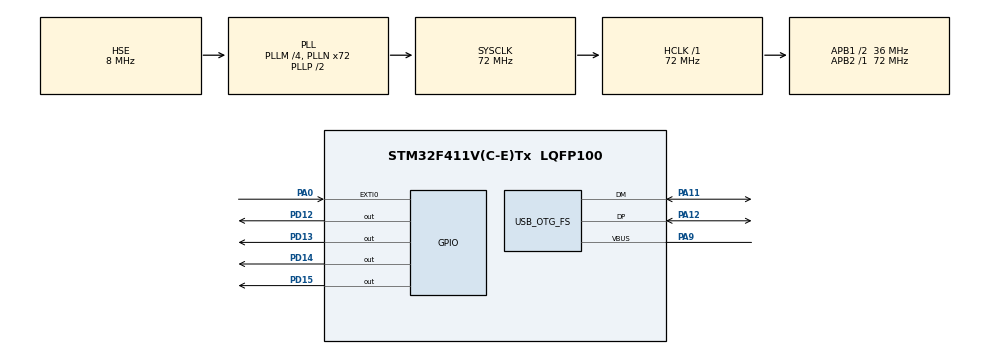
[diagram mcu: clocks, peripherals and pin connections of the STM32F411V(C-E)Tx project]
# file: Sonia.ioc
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ADC1.Channel-11\#ChannelRegularConversion=ADC_CHANNEL_TEMPSENSOR
ADC1.ClockPrescaler=ADC_CLOCK_SYNC_PCLK_DIV8
ADC1.ContinuousConvMode=ENABLE
ADC1.NbrOfConversionFlag=1
ADC1.Rank-11\#ChannelRegularConversion=1
ADC1.SamplingTime-11\#ChannelRegularConversion=ADC_SAMPLETIME_480CYCLES
ADC1.master=1
Mcu.Family=STM32F4
Mcu.Name=STM32F411V(C-E)Tx
Mcu.Package=LQFP100
NVIC.ADC_IRQn=true\:0\:0\:false\:false\:true\:true\:true\:true
NVIC.EXTI0_IRQn=true\:0\:0\:false\:false\:true\:true\:true\:true
NVIC.OTG_FS_IRQn=true\:0\:0\:false\:false\:true\:false\:true\:true
NVIC.PriorityGroup=NVIC_PRIORITYGROUP_4
PA0-WKUP.GPIO_ModeDefaultEXTI=GPIO_MODE_IT_RISING_FALLING
PA0-WKUP.Signal=GPXTI0
PA11.Mode=Device_Only
PA11.Signal=USB_OTG_FS_DM
PA12.Mode=Device_Only
PA12.Signal=USB_OTG_FS_DP
PA13.Mode=Serial_Wire
PA13.Signal=SYS_JTMS-SWDIO
PA14.Mode=Serial_Wire
PA14.Signal=SYS_JTCK-SWCLK
PA9.Mode=Activate_VBUS
PA9.Signal=USB_OTG_FS_VBUS
PD12.PinState=GPIO_PIN_SET
PD12.Signal=GPIO_Output
PD13.PinState=GPIO_PIN_SET
PD13.Signal=GPIO_Output
PD14.PinState=GPIO_PIN_SET
PD14.Signal=GPIO_Output
PD15.PinState=GPIO_PIN_SET
PD15.Signal=GPIO_Output
PH0\ -\ OSC_IN.Mode=HSE-External-Oscillator
PH0\ -\ OSC_IN.Signal=RCC_OSC_IN
PH1\ -\ OSC_OUT.Mode=HSE-External-Oscillator
PH1\ -\ OSC_OUT.Signal=RCC_OSC_OUT
ProjectManager.HeapSize=0x200
ProjectManager.StackSize=0x400
ProjectManager.TargetToolchain=STM32CubeIDE
RCC.48MHZClocksFreq_Value=48000000
RCC.AHBFreq_Value=72000000
RCC.APB1CLKDivider=RCC_HCLK_DIV2
RCC.APB1Freq_Value=36000000
RCC.APB1TimFreq_Value=72000000
RCC.APB2Freq_Value=72000000
RCC.APB2TimFreq_Value=72000000
RCC.CortexFreq_Value=72000000
RCC.HCLKFreq_Value=72000000
RCC.HSE_VALUE=8000000
RCC.HSI_VALUE=16000000
RCC.LSE_VALUE=32768
RCC.PLLM=4
RCC.PLLN=72
RCC.PLLQ=3
RCC.SYSCLKFreq_VALUE=72000000
RCC.SYSCLKSource=RCC_SYSCLKSOURCE_PLLCLK
RCC.VCOOutputFreq_Value=144000000
USB_DEVICE.CLASS_NAME_FS=CDC
USB_DEVICE.VirtualMode=Cdc
USB_DEVICE.VirtualModeFS=Cdc_FS
USB_OTG_FS.VirtualMode=Device_Only
VP_ADC1_TempSens_Input.Mode=IN-TempSens
VP_USB_DEVICE_VS_USB_DEVICE_CDC_FS.Mode=CDC_FS
board=custom

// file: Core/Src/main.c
/* USER CODE BEGIN Header */
/**
  ******************************************************************************
  * @file           : main.c
  * @brief          : Main program body
  ******************************************************************************
  * @attention
  *
  * Copyright (c) 2023 STMicroelectronics.
  * All rights reserved.
  *
  * This software is licensed under terms that can be found in the LICENSE file
  * in the root directory of this software component.
  * If no LICENSE file comes with this software, it is provided AS-IS.
  *
  ******************* ***********************************************************
  */
/* USER CODE END Header */
#include "main.h"
#include "usb_device.h"

/* USER CODE BEGIN Includes */

#include <stdio.h>
#include "string.h"
#include "stdint.h" //Required by nanopb - protocol buffer implementation and For use in converting RecievedDataForPB2 buffer from hex into decimal
#include "stddef.h" //Required by nanopb - protocol buffer implementation
#include "stdbool.h" //Required by nanopb - protocol buffer implementation
#include "limits.h" //Required by nanopb - protocol buffer implementation
#include <stdlib.h>

#include "src/STM.pb.h"
#include "pb_common.h"
#include "pb.h"
#include "pb_encode.h"
#include "pb_decode.h"

#include "usbd_cdc_if.h" // USB user interface  - For communication USB 11
#include "math.h"
/* USER CODE END Includes */

ADC_HandleTypeDef hadc1;

/* USER CODE BEGIN PV */

int DebugIncriment = 0;

//Private variables used for USB Communication
uint8_t DataToSend[64]; // Table with data for sending
uint8_t MessageCounter = 0; // Counter of number of sent messages
uint8_t MessageLength = 0; // The length of messages for sending through USB function

//Private variables used for Receiving Protocol
uint8_t ReceivedData[64]; // Table with received data from USB communication
uint8_t ReceivedDataForPB[64]; // ReceivedData array in suitible for decoding by pbnano (HEX)
uint8_t ReceivedDataForPB2[64]; //!!!!!!here firstly the hex bit array will be written, but then it will be turned into a dec array by hexToDecimal function suitable for decoding!!!!!
uint8_t ReceivedDataFlag = 0; // Flag for receiving data

//Private variables used for ADC temperature
uint16_t MeasurementADC;
float Temperature;
float Vsense;

//nano protocol buffer serialization
uint8_t bufferPB[128];
uint8_t bufferPBread[128];
STMMessage message = STMMessage_init_zero;	//declaring message data structure and initialize it
pb_ostream_t stream;
pb_istream_t istream;

int int1;
int int2;
int int3;
int mainint;
bool status=true; //status of protobuf decoding function decode_message
int functionflag = 0; //used in decode_message
//FOR TEST PURPOSES uint8_t encoded_buffer[] = {0x08, 0x01, 0x10, 0x1A, 0x18, 0xA5, 0x05, 0x00, 0x00, 0x00, 0x00, 0x00, 0x00, 0xF0, 0x3F};
//FOR TEST PURPOSES size_t buffer_length = sizeof(encoded_buffer);

char combined_hex;
/* USER CODE END PV */

void SystemClock_Config(void);
static void MX_GPIO_Init(void);
static void MX_ADC1_Init(void);
/* USER CODE BEGIN PFP */

void decode_message(const uint8_t* buffer, size_t length) {
	functionflag = 1;

    // Create a nanopb input stream from the buffer
    pb_istream_t istream = pb_istream_from_buffer(buffer, length);

    // Decode the message
    status = pb_decode(&istream, STMMessage_fields, &message);
    if (status) {
        // Message decoding successful
        int1 = message.messageId;
        int2 = message.temperatureInt;
        int3 = message.temperatureFraction;
    } else {
    	int1 = message.messageId;
    	int2 = message.temperatureInt;
    	int3 = message.temperatureFraction;
    }
}

int hexCharToInt(char hexChar) {
    if (hexChar >= '0' && hexChar <= '9') {
        return hexChar - '0';
    } else if (hexChar >= 'A' && hexChar <= 'F') {
        return hexChar - 'A' + 10;
    } else if (hexChar >= 'a' && hexChar <= 'f') {
        return hexChar - 'a' + 10;
    }
    return -1;  // Invalid hex character
}

/* USER CODE END PFP */

int main(void)
{

  /* MCU Configuration--------------------------------------------------------*/

  /* Reset of all peripherals, Initializes the Flash interface and the Systick. */
  HAL_Init();

  /* Configure the system clock */
  SystemClock_Config();

  /* Initialize all configured peripherals */
  MX_GPIO_Init();
  MX_ADC1_Init();
  MX_USB_DEVICE_Init();
  /* USER CODE BEGIN 2 */

//nano protocol buffer serialization

  stream = pb_ostream_from_buffer(bufferPB, 15);
  message.messageId = 1;
  message.temperatureInt = 10;
  message.temperatureFraction = 100;
  message.fakeMeasure = 8;
  pb_encode(&stream, STMMessage_fields, &message);

  for(int i = 0; i<stream.bytes_written; i++){
      //Serial.printf("%02X",bufferPB[i]);
    }

  	//reseting all the diods
  	HAL_GPIO_WritePin(GPIOD, GPIO_PIN_15, GPIO_PIN_RESET);
    HAL_GPIO_WritePin(GPIOD, GPIO_PIN_14, GPIO_PIN_RESET);
    HAL_GPIO_WritePin(GPIOD, GPIO_PIN_13, GPIO_PIN_RESET);
    HAL_GPIO_WritePin(GPIOD, GPIO_PIN_12, GPIO_PIN_RESET);

    //variables for ADC temperature measurements
    const float V25 = 0.76; // [Volts]
    const float Avg_slope = 0.0025; //[Volts/degree]
    const float SupplyVoltage = 3.0; // [Volts]
    const float ADCResolution = 4095.0;
    //variables for sending ADC temp
    //char *tmpSign;		//char that represents the "-" sign for the process of sending a float variable as 2 ints
    float tmpVal;

    int tmpInt1;	//acts as the integer part of Temperature from float
	float tmpFrac;      //a buffer for getting fraction part of Temperature
	int tmpInt2; 	//acts as the fraction part of Temperature, lates added to int part to look like a float

    //Flags for measurement beginning/end
    uint8_t FlagTemperatureMeasurement = 0;//flag for ADC temperature measurement
    uint8_t FlagDiod = 0;//flag for Diod 12 on/off

  /* USER CODE END 2 */

  /* Infinite loop */
  /* USER CODE BEGIN WHILE */
  while (1)
  {
	  HAL_Delay(100);  //elimination of the contact vibration effect

	  for(int i = 0; i <sizeof(ReceivedData)-1 ; i++){
		  ReceivedDataForPB[i] = hexCharToInt(ReceivedData[i]);
		  if((ReceivedData[i*2]==13)&&(ReceivedData[i*2+1]==10)&&(ReceivedData[i*2+2]==0)){
		  			  ReceivedDataForPB[i*2]=0;
		  			  ReceivedDataForPB[i*2+1]=0;
		  }
		  ReceivedDataForPB2[i] = combined_hex = ((ReceivedDataForPB[i*2] & 0xF) << 4) | (ReceivedDataForPB[i*2+1] & 0xF); //combining two char variables into a single char variable representing a hexadecimal value
	  }

	  istream = pb_istream_from_buffer(ReceivedDataForPB2, sizeof(ReceivedDataForPB2));		//Helper function for creating an input stream that reads data from a memory buffer.
	  decode_message(ReceivedDataForPB2, sizeof(ReceivedDataForPB2)); // Call the decode_message function to decode the message

/* This code remains undeleted for future debug and testing purposes, will we deleted in final version
	  //"Bitwise concatenation" - need to transform received data to an array of bytes(uint8_t HEX)
	  for(int i = 0; i <sizeof(ReceivedData)-1 ; i++){

		  //ReceivedDataForPB[i]=(Recei	vedData[i] << 4) | ReceivedData[i+1];
		  ReceivedDataForPB[i]=(int)ReceivedData[i]-48; //very important - converting chars into ints from ReceivedData (ascii values of the characters are subtracted from each other), for example
		  if(ReceivedDataForPB[i]==221){ReceivedDataForPB[i]=0;}
		  if(ReceivedDataForPB[i]==218){ReceivedDataForPB[i]=0;}
		  if(ReceivedDataForPB[i]==208){ReceivedDataForPB[i]=0;}
		  ReceivedDataForPB2[i]=(ReceivedDataForPB[i*2]*10+ReceivedDataForPB[i*2+1]); //concatination to form struvtures suitable for protocol buffers
	  }
	  for (int i = 30; i <63 ; ++i){ //cleanup, if more than 30 bits will be used, decrese or delete this loop!!!!
		  ReceivedDataForPB2[i]=0;
	  }

	  istream = pb_istream_from_buffer(ReceivedDataForPB2, sizeof(ReceivedDataForPB2));		//Helper function for creating an input stream that reads data from a memory buffer.
	  pb_read(&istream, bufferPBread, 8);		//Read data from input stream. Always use this function, don’t try to call the stream callback directly.
	  decodeflag = read_ints(&istream, STMMessage_fields, &message2);

	  decodeflag = pb_decode(&istream, STMMessage_fields, &message2);		//Read and decode all fields of a structure. Reads until EOF on input stream.

	  PBstorage = message.temperatureInt;

	  pb_decode_varint32(&istream,&PBstorage);

	  // Call the decode_message function to decode the message
*/

// sSwitching function based on user input from android app (from converted and decoded protobuf message)
	  if((int1==1)&&(int2==10)&&(int3==100)&&(FlagTemperatureMeasurement == 0)){
		  FlagTemperatureMeasurement = 1;
		  HAL_GPIO_WritePin(GPIOD, GPIO_PIN_15, GPIO_PIN_SET);
	  }
	  if((int1==2)&&(int2==20)&&(int3==200)&&(FlagTemperatureMeasurement == 1)){
		  FlagTemperatureMeasurement = 0;
		  HAL_GPIO_WritePin(GPIOD, GPIO_PIN_15, GPIO_PIN_RESET);
	  }
	  if((int1==3)&&(int2==30)&&(int3==300)&&(FlagDiod == 0)){
		  HAL_GPIO_WritePin(GPIOD, GPIO_PIN_12, GPIO_PIN_SET);
		  FlagDiod = 1;
	  }
	  if((int1==4)&&(int2==40)&&(int3==400)&&(FlagDiod == 1)){
		  HAL_GPIO_WritePin(GPIOD, GPIO_PIN_12, GPIO_PIN_RESET);
		  FlagDiod = 0;
	  }

// Turning on and off measurements based on button press
	  if (HAL_GPIO_ReadPin(GPIOA, GPIO_PIN_0) == GPIO_PIN_SET){
	  		  			  if (FlagTemperatureMeasurement == 1){
	  		  				  FlagTemperatureMeasurement = 0;
	  		  				  HAL_GPIO_WritePin(GPIOD, GPIO_PIN_15, GPIO_PIN_RESET);
	  		  				  ReceivedData[0]=8;
	  		  			  }else{
	  		  				  FlagTemperatureMeasurement = 1;
	  		  				  HAL_GPIO_WritePin(GPIOD, GPIO_PIN_15, GPIO_PIN_SET);
	  		  				  ReceivedData[0]=5;
	  		  			  }
	  }else{

// Gathering measurements if apropriate flag in ON
	  if (FlagTemperatureMeasurement == 1){
		  HAL_Delay(400);  //elimination of the contact vibration effect
		  	  HAL_ADC_Start(&hadc1);
			  if (HAL_ADC_PollForConversion(&hadc1, 10) == HAL_OK) { // Waiting for the conversion to complete
				  MeasurementADC = HAL_ADC_GetValue(&hadc1);// Getting the measured value
		  	  	  Vsense = (SupplyVoltage*MeasurementADC)/ADCResolution;// Convert the measured value to voltage
		  	  	  Temperature = ((Vsense-V25)/Avg_slope)+25;// Temperature calculation

		  	  	  HAL_ADC_Start(&hadc1);// Start of new conversion
		  	  	  //tmpSign = (Temperature < 0) ? "-" : "";
		  	  	  tmpVal = (Temperature < 0) ? -Temperature : Temperature;

		  	  }
	  }

	  // Converting the Measurement data into apropriate format, serializing it usenig protocol buffers and sending it over serial communication
	  if (FlagTemperatureMeasurement == 1){
		  	  	  	  	  tmpInt1 = tmpVal;                  // Get the integer part of Temperature
		  		  	  	  tmpFrac = tmpVal - tmpInt1;      // Get fraction part of Temperature
		  		  	  	  tmpInt2 = trunc(tmpFrac * 10000);  // Turn fraction part into integer
		  		  	  	  //MessageLength = sprintf(DataToSend, "{TEMP:%s%d.%d;}\r", tmpSign, tmpInt1, tmpInt2, ReceivedData);
		  		  	  	  //CDC_Transmit_FS(DataToSend, MessageLength);
		  		  	  	  MessageCounter+=1;
		  		  	  	  stream = pb_ostream_from_buffer(bufferPB, sizeof(bufferPB));
		  		  	  	  message.messageId = MessageCounter;
		  		  	  	  message.temperatureInt = 1;//tmpInt1;
		  		  	  	  message.temperatureFraction = 1;//tmpInt2;
		  		  	  	  message.fakeMeasure = 1;//8;
		  		  	  	  pb_encode(&stream, STMMessage_fields, &message);
		  		  	  	  MessageLength = sprintf(DataToSend, "%02x%02x%02x%02x%02x%02x%02x ", bufferPB[0], bufferPB[1], bufferPB[2], bufferPB[3], bufferPB[4], bufferPB[5], bufferPB[6]);
		  		  	  	  CDC_Transmit_FS(DataToSend, MessageLength);
	  	  }
	  }

    /* USER CODE END WHILE */

  }
}

void SystemClock_Config(void)
{
  RCC_OscInitTypeDef RCC_OscInitStruct = {0};
  RCC_ClkInitTypeDef RCC_ClkInitStruct = {0};

  /** Configure the main internal regulator output voltage
  */
  __HAL_RCC_PWR_CLK_ENABLE();
  __HAL_PWR_VOLTAGESCALING_CONFIG(PWR_REGULATOR_VOLTAGE_SCALE1);

  /** Initializes the RCC Oscillators according to the specified parameters
  * in the RCC_OscInitTypeDef structure.
  */
  RCC_OscInitStruct.OscillatorType = RCC_OSCILLATORTYPE_HSE;
  RCC_OscInitStruct.HSEState = RCC_HSE_ON;
  RCC_OscInitStruct.PLL.PLLState = RCC_PLL_ON;
  RCC_OscInitStruct.PLL.PLLSource = RCC_PLLSOURCE_HSE;
  RCC_OscInitStruct.PLL.PLLM = 4;
  RCC_OscInitStruct.PLL.PLLN = 72;
  RCC_OscInitStruct.PLL.PLLP = RCC_PLLP_DIV2;
  RCC_OscInitStruct.PLL.PLLQ = 3;
  if (HAL_RCC_OscConfig(&RCC_OscInitStruct) != HAL_OK)
  {
    Error_Handler();
  }

  /** Initializes the CPU, AHB and APB buses clocks
  */
  RCC_ClkInitStruct.ClockType = RCC_CLOCKTYPE_HCLK|RCC_CLOCKTYPE_SYSCLK
                              |RCC_CLOCKTYPE_PCLK1|RCC_CLOCKTYPE_PCLK2;
  RCC_ClkInitStruct.SYSCLKSource = RCC_SYSCLKSOURCE_PLLCLK;
  RCC_ClkInitStruct.AHBCLKDivider = RCC_SYSCLK_DIV1;
  RCC_ClkInitStruct.APB1CLKDivider = RCC_HCLK_DIV2;
  RCC_ClkInitStruct.APB2CLKDivider = RCC_HCLK_DIV1;

  if (HAL_RCC_ClockConfig(&RCC_ClkInitStruct, FLASH_LATENCY_2) != HAL_OK)
  {
    Error_Handler();
  }
}

static void MX_ADC1_Init(void)
{

  ADC_ChannelConfTypeDef sConfig = {0};

  /** Configure the global features of the ADC (Clock, Resolution, Data Alignment and number of conversion)
  */
  hadc1.Instance = ADC1;
  hadc1.Init.ClockPrescaler = ADC_CLOCK_SYNC_PCLK_DIV8;
  hadc1.Init.Resolution = ADC_RESOLUTION_12B;
  hadc1.Init.ScanConvMode = DISABLE;
  hadc1.Init.ContinuousConvMode = ENABLE;
  hadc1.Init.DiscontinuousConvMode = DISABLE;
  hadc1.Init.ExternalTrigConvEdge = ADC_EXTERNALTRIGCONVEDGE_NONE;
  hadc1.Init.ExternalTrigConv = ADC_SOFTWARE_START;
  hadc1.Init.DataAlign = ADC_DATAALIGN_RIGHT;
  hadc1.Init.NbrOfConversion = 1;
  hadc1.Init.DMAContinuousRequests = DISABLE;
  hadc1.Init.EOCSelection = ADC_EOC_SINGLE_CONV;
  if (HAL_ADC_Init(&hadc1) != HAL_OK)
  {
    Error_Handler();
  }

  /** Configure for the selected ADC regular channel its corresponding rank in the sequencer and its sample time.
  */
  sConfig.Channel = ADC_CHANNEL_TEMPSENSOR;
  sConfig.Rank = 1;
  sConfig.SamplingTime = ADC_SAMPLETIME_480CYCLES;
  if (HAL_ADC_ConfigChannel(&hadc1, &sConfig) != HAL_OK)
  {
    Error_Handler();
  }

}

static void MX_GPIO_Init(void)
{
  GPIO_InitTypeDef GPIO_InitStruct = {0};

  /* GPIO Ports Clock Enable */
  __HAL_RCC_GPIOH_CLK_ENABLE();
  __HAL_RCC_GPIOA_CLK_ENABLE();
  __HAL_RCC_GPIOD_CLK_ENABLE();

  /*Configure GPIO pin Output Level */
  HAL_GPIO_WritePin(GPIOD, GPIO_PIN_12|GPIO_PIN_13|GPIO_PIN_14|GPIO_PIN_15, GPIO_PIN_SET);

  /*Configure GPIO pin : PA0 */
  GPIO_InitStruct.Pin = GPIO_PIN_0;
  GPIO_InitStruct.Mode = GPIO_MODE_IT_RISING_FALLING;
  GPIO_InitStruct.Pull = GPIO_NOPULL;
  HAL_GPIO_Init(GPIOA, &GPIO_InitStruct);

  /*Configure GPIO pins : PD12 PD13 PD14 PD15 */
  GPIO_InitStruct.Pin = GPIO_PIN_12|GPIO_PIN_13|GPIO_PIN_14|GPIO_PIN_15;
  GPIO_InitStruct.Mode = GPIO_MODE_OUTPUT_PP;
  GPIO_InitStruct.Pull = GPIO_NOPULL;
  GPIO_InitStruct.Speed = GPIO_SPEED_FREQ_LOW;
  HAL_GPIO_Init(GPIOD, &GPIO_InitStruct);

  /* EXTI interrupt init*/
  HAL_NVIC_SetPriority(EXTI0_IRQn, 0, 0);
  HAL_NVIC_EnableIRQ(EXTI0_IRQn);

}

void Error_Handler(void)
{
  __disable_irq();
  while (1)
  {
  }
}
